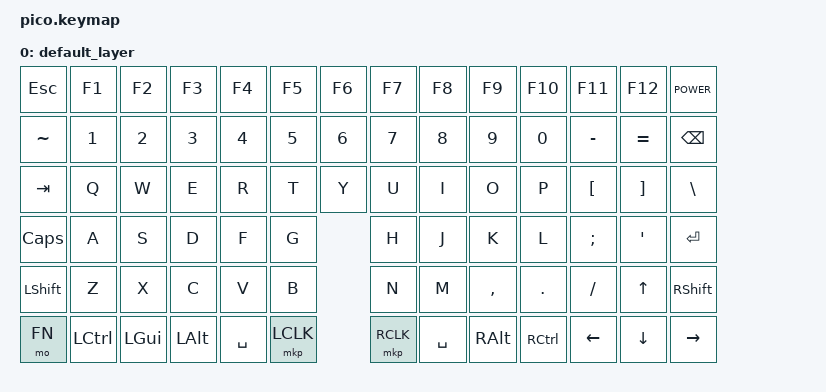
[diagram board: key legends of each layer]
/*
 * Copyright (c) 2021 The ZMK Contributors
 *
 * SPDX-License-Identifier: MIT
 */

#include <behaviors.dtsi>
#include <dt-bindings/zmk/keys.h>
#include <dt-bindings/zmk/mouse.h>

#define FN 1

/ {
    keymap {
        compatible = "zmk,keymap";

        default_layer {
            // ------------------------------------------------------------------------------------------
            // |  ESC  |  F1  |  F2  |  F3  |  F4  |  F5  |   F6  |   F7  |  F8  |  F9  | F10  |  F11  |  F12  |  PWR  |
            // |   `   |  1   |  2   |  3   |  4   |  5   |   6   |  7    |  8   |  9   |  0   |   -   |   =   |  BSPC |
            // |  TAB  |  Q   |  W   |  E   |  R   |  T   |   Y   |  U    |  I   |  O   |  P   |   [   |   ]   |   \   |
            // | CAPS  |  A   |  S   |  D   |  F   |  G   |       |   H   |  J   |  K   |  L   |   ;   |  '    | ENTER |
            // | SHIFT |  Z   |  X   |  C   |  V   |  B   |       |   N   |  M   |  ,   |  .   |   /   |   UP  | SHIFT |
            // |  FN   | LCTL | SUP  | LALT | LSPC | LBTN |       |  RBTN | RSPC | RALT | RCTL | LEFT  | DOWN  | RIGHT |

            bindings = <
                &kp ESC      &kp F1    &kp F2   &kp F3   &kp F4    &kp F5    &kp F6 &kp F7    &kp F8    &kp F9    &kp F10   &kp F11   &kp F12   &kp C_POWER
                &kp TILDE    &kp N1    &kp N2   &kp N3   &kp N4    &kp N5    &kp N6 &kp N7    &kp N8    &kp N9    &kp N0    &kp MINUS &kp EQUAL &kp BSPC
                &kp TAB      &kp Q     &kp W    &kp E    &kp R     &kp T     &kp Y  &kp U     &kp I     &kp O     &kp P     &kp LBKT  &kp RBKT  &kp BSLH
                &kp CAPSLOCK &kp A     &kp S    &kp D    &kp F     &kp G            &kp H     &kp J     &kp K     &kp L     &kp SEMI  &kp SQT   &kp RET
                &kp LSHFT    &kp Z     &kp X    &kp C    &kp V     &kp B            &kp N     &kp M     &kp COMMA &kp DOT   &kp FSLH  &kp UP    &kp RSHIFT
                &mo FN       &kp LCTRL &kp LGUI &kp LALT &kp SPACE &mkp LCLK        &mkp RCLK &kp SPACE &kp RALT  &kp RCTRL &kp LEFT  &kp DOWN  &kp RIGHT
            >;
        };
    };
};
